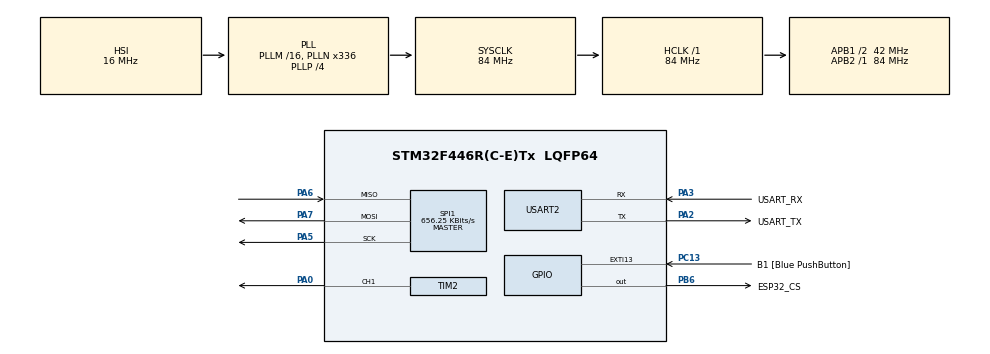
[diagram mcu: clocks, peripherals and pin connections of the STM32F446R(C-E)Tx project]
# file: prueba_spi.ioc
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Mcu.Family=STM32F4
Mcu.Name=STM32F446R(C-E)Tx
Mcu.Package=LQFP64
NVIC.PriorityGroup=NVIC_PRIORITYGROUP_0
PA0-WKUP.Signal=S_TIM2_CH1_ETR
PA13.GPIO_Label=TMS
PA13.Signal=SYS_JTMS-SWDIO
PA14.GPIO_Label=TCK
PA14.Signal=SYS_JTCK-SWCLK
PA2.GPIO_Label=USART_TX
PA2.Mode=Asynchronous
PA2.Signal=USART2_TX
PA3.GPIO_Label=USART_RX
PA3.Mode=Asynchronous
PA3.Signal=USART2_RX
PA5.Mode=Full_Duplex_Master
PA5.Signal=SPI1_SCK
PA6.Mode=Full_Duplex_Master
PA6.Signal=SPI1_MISO
PA7.Mode=Full_Duplex_Master
PA7.Signal=SPI1_MOSI
PB3.GPIO_Label=SWO
PB3.Signal=SYS_JTDO-SWO
PB6.GPIO_Label=ESP32_CS
PB6.GPIO_Speed=GPIO_SPEED_FREQ_HIGH
PB6.PinState=GPIO_PIN_SET
PB6.Signal=GPIO_Output
PC13.GPIO_Label=B1 [Blue PushButton]
PC13.GPIO_ModeDefaultEXTI=GPIO_MODE_IT_FALLING
PC13.Signal=GPXTI13
PC14-OSC32_IN.Signal=RCC_OSC32_IN
PC15-OSC32_OUT.Signal=RCC_OSC32_OUT
PH0-OSC_IN.Signal=RCC_OSC_IN
PH1-OSC_OUT.Signal=RCC_OSC_OUT
ProjectManager.HeapSize=0x200
ProjectManager.StackSize=0x400
ProjectManager.TargetToolchain=STM32CubeIDE
RCC.AHBFreq_Value=84000000
RCC.APB1CLKDivider=RCC_HCLK_DIV2
RCC.APB1Freq_Value=42000000
RCC.APB1TimFreq_Value=84000000
RCC.APB2Freq_Value=84000000
RCC.APB2TimFreq_Value=84000000
RCC.CortexFreq_Value=84000000
RCC.FLatency-AdvancedSettings=FLASH_LATENCY_2
RCC.HCLKFreq_Value=84000000
RCC.HSE_VALUE=8000000
RCC.HSI_VALUE=16000000
RCC.LSE_VALUE=32768
RCC.PLLN=336
RCC.PLLP=RCC_PLLP_DIV4
RCC.SYSCLKFreq_VALUE=84000000
RCC.SYSCLKSource=RCC_SYSCLKSOURCE_PLLCLK
RCC.USBFreq_Value=168000000
RCC.VCOOutputFreq_Value=336000000
SH.S_TIM2_CH1_ETR.0=TIM2_CH1,Output Compare1 CH1
SPI1.BaudRatePrescaler=SPI_BAUDRATEPRESCALER_128
SPI1.CRCCalculation=SPI_CRCCALCULATION_DISABLE
SPI1.CalculateBaudRate=656.25 KBits/s
SPI1.Direction=SPI_DIRECTION_2LINES
SPI1.Mode=SPI_MODE_MASTER
SPI1.VirtualType=VM_MASTER
TIM2.Channel-Output\ Compare1\ CH1=TIM_CHANNEL_1
TIM2.Period=4999
TIM2.Prescaler=8399
USART2.VirtualMode=VM_ASYNC
VP_TIM2_VS_ClockSourceINT.Mode=Internal
board=NUCLEO-F446RE

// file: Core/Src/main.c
/* USER CODE BEGIN Header */
/**
  ******************************************************************************
  * @file           : main.c
  * @brief          : Main program body
  ******************************************************************************
  * @attention
  *
  * Copyright (c) 2026 STMicroelectronics.
  * All rights reserved.
  *
  * This software is licensed under terms that can be found in the LICENSE file
  * in the root directory of this software component.
  * If no LICENSE file comes with this software, it is provided AS-IS.
  *
  ******************************************************************************
  */
/* USER CODE END Header */
#include "main.h"

/* USER CODE BEGIN Includes */
#include <string.h> //para usar strcmp y strlen
#include <stdio.h> //sirve para armar mensajes con números.
/* USER CODE END Includes */

/* USER CODE BEGIN PD */
#define RX_BUF_LEN     20      //maximo de caracteres que se leen de la terminal
#define SPI_FRAME_LEN  4       //la trama SPI es de 4 bytes
#define SPI_HEADER     0xA5    //encabezado para que el ESP32 sepa que la trama es valida
#define LED_MIN        1
#define LED_MAX        3
#define TIEMPO_MIN     1
#define TIEMPO_MAX     60000   // ms
#define TIM2_TICKS_MS  10      //el TIM2 cuenta cada 0.1 ms, entonces 10 cuentas = 1 ms
/* USER CODE END PD */

SPI_HandleTypeDef hspi1;

TIM_HandleTypeDef htim2;

UART_HandleTypeDef huart2;

void SystemClock_Config(void);
static void MX_GPIO_Init(void);
static void MX_SPI1_Init(void);
static void MX_USART2_UART_Init(void);
static void MX_TIM2_Init(void);
/* USER CODE BEGIN PFP */
static void UART_Print(const char *s);
static void UART_ReadLine(char *buf, uint16_t len);
static void Mostrar_Menu(void);
static void Submenu_SPI(void);
static uint8_t Parse_Comando(const char *s, uint8_t *led, uint16_t *tiempo);
static HAL_StatusTypeDef SPI_Enviar_Comando(uint8_t led, uint16_t tiempo);
static void Senal_Actualizar(uint16_t tiempo);
/* USER CODE END PFP */

int main(void)
{

  /* USER CODE BEGIN 1 */
  char linea[RX_BUF_LEN]; //aqui se guarda lo que se escribe en la terminal
  /* USER CODE END 1 */

  /* MCU Configuration--------------------------------------------------------*/

  /* Reset of all peripherals, Initializes the Flash interface and the Systick. */
  HAL_Init();

  /* Configure the system clock */
  SystemClock_Config();

  /* Initialize all configured peripherals */
  MX_GPIO_Init();
  MX_SPI1_Init();
  MX_USART2_UART_Init();
  MX_TIM2_Init();
  /* USER CODE BEGIN 2 */
  //arranca la señal cuadrada en PA0, inicia con 500 ms alto / 500 ms bajo
  //el timer hace el cambio de estado solo, no ocupa al CPU
  HAL_TIM_OC_Start(&htim2, TIM_CHANNEL_1);

  UART_Print("\r\n=== Proyecto 2 - Digital 2 ===\r\n");
  /* USER CODE END 2 */

  /* Infinite loop */
  /* USER CODE BEGIN WHILE */
  while (1)
  {
    Mostrar_Menu();
    UART_ReadLine(linea, sizeof(linea)); //espera la opcion del usuario

    if (strcmp(linea, "1") == 0)
    {
      Submenu_SPI();
    }
    else
    {
      UART_Print("Opcion no valida.\r\n");
    }
    /* USER CODE END WHILE */

  }
}

void SystemClock_Config(void)
{
  RCC_OscInitTypeDef RCC_OscInitStruct = {0};
  RCC_ClkInitTypeDef RCC_ClkInitStruct = {0};

  /** Configure the main internal regulator output voltage
  */
  __HAL_RCC_PWR_CLK_ENABLE();
  __HAL_PWR_VOLTAGESCALING_CONFIG(PWR_REGULATOR_VOLTAGE_SCALE3);

  /** Initializes the RCC Oscillators according to the specified parameters
  * in the RCC_OscInitTypeDef structure.
  */
  RCC_OscInitStruct.OscillatorType = RCC_OSCILLATORTYPE_HSI;
  RCC_OscInitStruct.HSIState = RCC_HSI_ON;
  RCC_OscInitStruct.HSICalibrationValue = RCC_HSICALIBRATION_DEFAULT;
  RCC_OscInitStruct.PLL.PLLState = RCC_PLL_ON;
  RCC_OscInitStruct.PLL.PLLSource = RCC_PLLSOURCE_HSI;
  RCC_OscInitStruct.PLL.PLLM = 16;
  RCC_OscInitStruct.PLL.PLLN = 336;
  RCC_OscInitStruct.PLL.PLLP = RCC_PLLP_DIV4;
  RCC_OscInitStruct.PLL.PLLQ = 2;
  RCC_OscInitStruct.PLL.PLLR = 2;
  if (HAL_RCC_OscConfig(&RCC_OscInitStruct) != HAL_OK)
  {
    Error_Handler();
  }

  /** Initializes the CPU, AHB and APB buses clocks
  */
  RCC_ClkInitStruct.ClockType = RCC_CLOCKTYPE_HCLK|RCC_CLOCKTYPE_SYSCLK
                              |RCC_CLOCKTYPE_PCLK1|RCC_CLOCKTYPE_PCLK2;
  RCC_ClkInitStruct.SYSCLKSource = RCC_SYSCLKSOURCE_PLLCLK;
  RCC_ClkInitStruct.AHBCLKDivider = RCC_SYSCLK_DIV1;
  RCC_ClkInitStruct.APB1CLKDivider = RCC_HCLK_DIV2;
  RCC_ClkInitStruct.APB2CLKDivider = RCC_HCLK_DIV1;

  if (HAL_RCC_ClockConfig(&RCC_ClkInitStruct, FLASH_LATENCY_2) != HAL_OK)
  {
    Error_Handler();
  }
}

static void MX_SPI1_Init(void)
{

  /* SPI1 parameter configuration*/
  hspi1.Instance = SPI1;
  hspi1.Init.Mode = SPI_MODE_MASTER;
  hspi1.Init.Direction = SPI_DIRECTION_2LINES;
  hspi1.Init.DataSize = SPI_DATASIZE_8BIT;
  hspi1.Init.CLKPolarity = SPI_POLARITY_LOW;
  hspi1.Init.CLKPhase = SPI_PHASE_1EDGE;
  hspi1.Init.NSS = SPI_NSS_SOFT;
  hspi1.Init.BaudRatePrescaler = SPI_BAUDRATEPRESCALER_128;
  hspi1.Init.FirstBit = SPI_FIRSTBIT_MSB;
  hspi1.Init.TIMode = SPI_TIMODE_DISABLE;
  hspi1.Init.CRCCalculation = SPI_CRCCALCULATION_DISABLE;
  hspi1.Init.CRCPolynomial = 10;
  if (HAL_SPI_Init(&hspi1) != HAL_OK)
  {
    Error_Handler();
  }

}

static void MX_TIM2_Init(void)
{

  TIM_ClockConfigTypeDef sClockSourceConfig = {0};
  TIM_MasterConfigTypeDef sMasterConfig = {0};
  TIM_OC_InitTypeDef sConfigOC = {0};

  /* USER CODE BEGIN TIM2_Init 1 */
  //84 MHz / (8399+1) = 10 kHz -> una cuenta cada 0.1 ms
  //periodo 4999 -> 5000 cuentas = 500 ms entre cada cambio del pin
  /* USER CODE END TIM2_Init 1 */
  htim2.Instance = TIM2;
  htim2.Init.Prescaler = 8399;
  htim2.Init.CounterMode = TIM_COUNTERMODE_UP;
  htim2.Init.Period = 4999;
  htim2.Init.ClockDivision = TIM_CLOCKDIVISION_DIV1;
  htim2.Init.AutoReloadPreload = TIM_AUTORELOAD_PRELOAD_DISABLE;
  if (HAL_TIM_Base_Init(&htim2) != HAL_OK)
  {
    Error_Handler();
  }
  sClockSourceConfig.ClockSource = TIM_CLOCKSOURCE_INTERNAL;
  if (HAL_TIM_ConfigClockSource(&htim2, &sClockSourceConfig) != HAL_OK)
  {
    Error_Handler();
  }
  if (HAL_TIM_OC_Init(&htim2) != HAL_OK)
  {
    Error_Handler();
  }
  sMasterConfig.MasterOutputTrigger = TIM_TRGO_RESET;
  sMasterConfig.MasterSlaveMode = TIM_MASTERSLAVEMODE_DISABLE;
  if (HAL_TIMEx_MasterConfigSynchronization(&htim2, &sMasterConfig) != HAL_OK)
  {
    Error_Handler();
  }
  sConfigOC.OCMode = TIM_OCMODE_TOGGLE;
  sConfigOC.Pulse = 0;
  sConfigOC.OCPolarity = TIM_OCPOLARITY_HIGH;
  sConfigOC.OCFastMode = TIM_OCFAST_DISABLE;
  if (HAL_TIM_OC_ConfigChannel(&htim2, &sConfigOC, TIM_CHANNEL_1) != HAL_OK)
  {
    Error_Handler();
  }
  HAL_TIM_MspPostInit(&htim2);

}

static void MX_USART2_UART_Init(void)
{

  huart2.Instance = USART2;
  huart2.Init.BaudRate = 115200;
  huart2.Init.WordLength = UART_WORDLENGTH_8B;
  huart2.Init.StopBits = UART_STOPBITS_1;
  huart2.Init.Parity = UART_PARITY_NONE;
  huart2.Init.Mode = UART_MODE_TX_RX;
  huart2.Init.HwFlowCtl = UART_HWCONTROL_NONE;
  huart2.Init.OverSampling = UART_OVERSAMPLING_16;
  if (HAL_UART_Init(&huart2) != HAL_OK)
  {
    Error_Handler();
  }

}

static void MX_GPIO_Init(void)
{
  GPIO_InitTypeDef GPIO_InitStruct = {0};

  /* GPIO Ports Clock Enable */
  __HAL_RCC_GPIOC_CLK_ENABLE();
  __HAL_RCC_GPIOH_CLK_ENABLE();
  __HAL_RCC_GPIOA_CLK_ENABLE();
  __HAL_RCC_GPIOB_CLK_ENABLE();

  /*Configure GPIO pin Output Level */
  HAL_GPIO_WritePin(ESP32_CS_GPIO_Port, ESP32_CS_Pin, GPIO_PIN_SET);

  /*Configure GPIO pin : B1_Pin */
  GPIO_InitStruct.Pin = B1_Pin;
  GPIO_InitStruct.Mode = GPIO_MODE_IT_FALLING;
  GPIO_InitStruct.Pull = GPIO_NOPULL;
  HAL_GPIO_Init(B1_GPIO_Port, &GPIO_InitStruct);

  /*Configure GPIO pin : ESP32_CS_Pin */
  GPIO_InitStruct.Pin = ESP32_CS_Pin;
  GPIO_InitStruct.Mode = GPIO_MODE_OUTPUT_PP;
  GPIO_InitStruct.Pull = GPIO_NOPULL;
  GPIO_InitStruct.Speed = GPIO_SPEED_FREQ_HIGH;
  HAL_GPIO_Init(ESP32_CS_GPIO_Port, &GPIO_InitStruct);

}

/* USER CODE BEGIN 4 */

/* Envia un texto por la terminal */
static void UART_Print(const char *s)
{
  HAL_UART_Transmit(&huart2, (uint8_t *)s, strlen(s), HAL_MAX_DELAY);
}

/* Lee una linea hasta Enter, con eco y soporte de borrar */
static void UART_ReadLine(char *buf, uint16_t len)
{
  uint16_t i = 0;
  uint8_t c;

  while (1)
  {
    //recibe un caracter a la vez
    if (HAL_UART_Receive(&huart2, &c, 1, HAL_MAX_DELAY) != HAL_OK) continue;

    //si llega Enter (13 o 10) se termina la lectura
    if (c == '\r' || c == '\n')
    {
      if (i == 0) continue;          // ignora Enter vacio o el \n despues del \r
      break;
    }
    if (c == '\b' || c == 127)       // Backspace
    {
      if (i > 0) { i--; UART_Print("\b \b"); }
      continue;
    }
    //guarda el caracter si todavia hay espacio
    if (i < len - 1)
    {
      buf[i++] = c;
      HAL_UART_Transmit(&huart2, &c, 1, HAL_MAX_DELAY);   // eco
    }
  }
  buf[i] = '\0';   //cierra el texto
  UART_Print("\r\n");
}

static void Mostrar_Menu(void)//imprime el menu principal
{
  UART_Print("\r\n------ MENU PRINCIPAL ------\r\n");
  UART_Print("1. Control de LEDs (SPI - ESP32) y senal cuadrada\r\n");
  UART_Print("Seleccione una opcion: ");
}

/* Valida el formato "LED,TIEMPO". Retorna 1 si es valido, 0 si no */
static uint8_t Parse_Comando(const char *s, uint8_t *led, uint16_t *tiempo)//Revisa que el comando sea valido
{
  uint32_t valor = 0;
  uint8_t digitos = 0;

  while (*s == ' ') s++;   //salta espacios al inicio

  /* --- numero de LED (1 digito) --- */
  while (*s >= '0' && *s <= '9')
  {
    valor = valor * 10 + (*s - '0');   //convierte el caracter a numero
    s++;
    if (++digitos > 1) return 0;
  }
  if (digitos == 0 || valor < LED_MIN || valor > LED_MAX) return 0;
  *led = (uint8_t)valor;

  /* --- coma separadora --- */
  while (*s == ' ') s++;
  if (*s != ',') return 0;
  s++;
  while (*s == ' ') s++;

  /* --- tiempo en ms (max 5 digitos) --- */
  valor = 0;
  digitos = 0;
  while (*s >= '0' && *s <= '9')
  {
    valor = valor * 10 + (*s - '0');
    s++;
    if (++digitos > 5) return 0;
  }
  if (digitos == 0) return 0;

  while (*s == ' ') s++;
  if (*s != '\0') return 0;          // no debe haber basura al final

  if (valor < TIEMPO_MIN || valor > TIEMPO_MAX) return 0;
  *tiempo = (uint16_t)valor;
  return 1;
}

/* Envia la trama de 4 bytes al ESP32: [0xA5][LED][T_H][T_L] */
static HAL_StatusTypeDef SPI_Enviar_Comando(uint8_t led, uint16_t tiempo)//Pone el CS en bajo y manda los 4 bytes por SPI
{
  //el tiempo se parte en dos bytes: parte alta y parte baja
  uint8_t tx[SPI_FRAME_LEN] = { SPI_HEADER, led, (uint8_t)(tiempo >> 8), (uint8_t)(tiempo & 0xFF) };
  uint8_t rx[SPI_FRAME_LEN] = {0};
  HAL_StatusTypeDef st;

  HAL_GPIO_WritePin(ESP32_CS_GPIO_Port, ESP32_CS_Pin, GPIO_PIN_RESET);   //selecciona al ESP32
  HAL_Delay(1);                                   // tiempo para que el esclavo se prepare
  st = HAL_SPI_TransmitReceive(&hspi1, tx, rx, SPI_FRAME_LEN, 100);
  HAL_GPIO_WritePin(ESP32_CS_GPIO_Port, ESP32_CS_Pin, GPIO_PIN_SET);     //libera al ESP32

  return st;
}

/* Cambia el tiempo de la senal cuadrada del TIM2 */
static void Senal_Actualizar(uint16_t tiempo)
{
  //el pin cambia de estado cada vez que el contador llega al periodo
  //entonces el periodo del timer es el tiempo en alto (y el tiempo en bajo)
  __HAL_TIM_SET_AUTORELOAD(&htim2, (uint32_t)tiempo * TIM2_TICKS_MS - 1);
  __HAL_TIM_SET_COMPARE(&htim2, TIM_CHANNEL_1, 0);
  //se reinicia el contador para que no se pase del nuevo periodo
  __HAL_TIM_SET_COUNTER(&htim2, 0);
}

static void Submenu_SPI(void)////Pide el compando y lo valida
{
  char linea[RX_BUF_LEN];
  char msg[64];
  uint8_t led;
  uint16_t tiempo;

  while (1)
  {
    UART_Print("\r\n--- CONTROL DE LEDs ---\r\n");
    UART_Print("Formato: LED,TIEMPO_ms \r\n");
    UART_Print("LED: 1-3   Tiempo: 1-60000 ms   (0 = regresar)\r\n");
    UART_Print("> ");
    UART_ReadLine(linea, sizeof(linea));//Lee lo que se escribe hasta presionar enter haceptando backspace y borrar.

    if (strcmp(linea, "0") == 0) return;          // regresar al menu

    if (!Parse_Comando(linea, &led, &tiempo))
    {
      UART_Print("Error: comando invalido. Intente de nuevo.\r\n"); //Manda el texto a la terminal
      continue;
    }

    //parte 5: con el mismo comando se cambia el periodo de la senal cuadrada
    Senal_Actualizar(tiempo);
    snprintf(msg, sizeof(msg), "Senal cuadrada: %u ms alto / %u ms bajo\r\n", tiempo, tiempo);
    UART_Print(msg);

    if (SPI_Enviar_Comando(led, tiempo) != HAL_OK)
    {
      UART_Print("Error: fallo la transmision SPI.\r\n");
      return;
    }

    snprintf(msg, sizeof(msg), "Enviado: LED %u encendido por %u ms...\r\n", led, tiempo);
    UART_Print(msg);

    HAL_Delay(tiempo + 50);                        // espera a que el ESP32 termine
    UART_Print("Operacion finalizada.\r\n");
    return;                                        // regresa al menu principal
  }
}

/* USER CODE END 4 */

void Error_Handler(void)
{
  __disable_irq();
  while (1)
  {
  }
}
